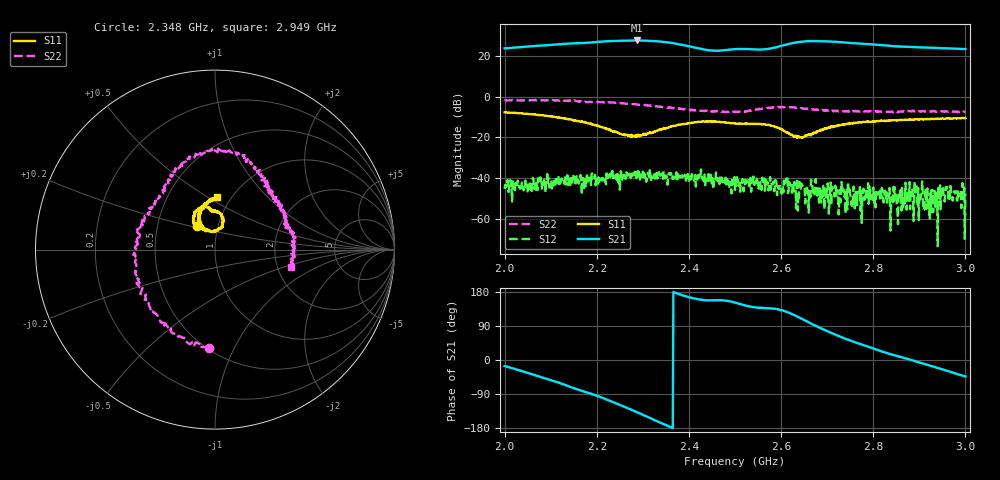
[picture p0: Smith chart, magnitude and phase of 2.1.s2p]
!Agilent Technologies,E8364A,US41440144,A.06.04.32
!Agilent E8364A: A.06.04.32
!Date: Wednesday, January 31, 2018 11:41:10
!Correction: S11(Full 2 Port(1,2)) S21(Full 2 Port(1,2)) S12(Full 2 Port(1,2)) S22(Full 2 Port(1,2))
!S2P File: Measurements: S11, S21, S12, S22:
# Hz S  dB  R 50
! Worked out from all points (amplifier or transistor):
!   801 points, 2 GHz to 3 GHz, reference 50 ohm
!   highest |S21| = 27.5 dB at 2.286 GHz (marker M1)
!   |S21| within 3 dB of that: 2.049 GHz to 2.403 GHz (354.5 MHz wide, 15.9 % of centre)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
!   unconditionally stable (mu >= 1): 2.209 GHz to 2.221 GHz; 2.272915 GHz to 2.282374 GHz; 2.283 GHz to end of sweep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
!   at 2.166 GHz: K = 0.94, MSG = 33.6 dB, |S12| = -40.9 dB
!   at 2.5 GHz: K = 5.21, MAG = 24.3 dB, |S12| = -45.7 dB
!   at 3 GHz: K = 6.19, MAG = 24.4 dB, |S12| = -47.4 dB
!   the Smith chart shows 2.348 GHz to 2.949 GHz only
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2e9  -7.68 127.2  23.59 -15.8  -45.15 -139.6  -2.01 91.2
2.08875e9  -9.25 104.8  25.11 -48.6  -46.96 -165.8  -1.99 57.5
2.1675e9  -12.00 87.7  26.18 -81.1  -47.89 148.7  -2.37 21.8
2.2275e9  -15.78 83.5  27.14 -107.5  -39.91 115.7  -2.86 -7.5
2.28625e9  -19.71 112.3  27.46 -137.2  -39.92 135.4  -3.77 -44.9
2.33375e9  -16.35 130.6  27.00 -163.2  -38.27 110.1  -4.95 -82.5
2.3675e9  -14.29 128.3  26.03 179.0  -38.48 90.0  -5.57 -113.0
2.39625e9  -13.26 122.9  24.78 166.9  -40.57 59.7  -6.41 -140.7
2.44125e9  -12.23 108.8  22.74 157.4  -41.29 36.0  -7.13 179.6
2.47e9  -12.47 99.4  22.60 157.8  -39.79 38.0  -7.42 158.5
2.5e9  -13.19 96.8  23.18 151.4  -45.72 17.5  -7.37 140.6
2.55e9  -13.34 88.3  22.99 138.1  -41.68 36.8  -6.15 118.1
2.58e9  -14.27 78.8  23.67 136.2  -43.17 14.0  -5.39 100.8
2.61625e9  -17.67 74.5  25.71 125.2  -46.24 20.2  -5.32 79.3
2.63625e9  -19.28 89.7  26.57 114.4  -55.77 11.1  -5.71 70.7
2.6675e9  -18.02 118.8  27.19 94.6  -42.72 -26.4  -6.34 58.1
2.7e9  -15.65 120.7  27.00 76.3  -44.15 16.9  -6.86 51.0
2.74e9  -13.52 113.6  26.40 55.8  -57.27 -18.3  -7.23 42.5
2.79e9  -12.38 106.9  25.56 34.5  -52.46 -14.6  -7.14 30.5
2.83375e9  -11.72 101.7  24.88 16.4  -49.34 -19.0  -7.44 21.4
2.92e9  -11.12 92.2  23.90 -13.5  -55.06 2.8  -7.13 -3.0
3e9  -10.49 83.9  23.24 -43.4  -47.43 -41.0  -7.52 -28.3
